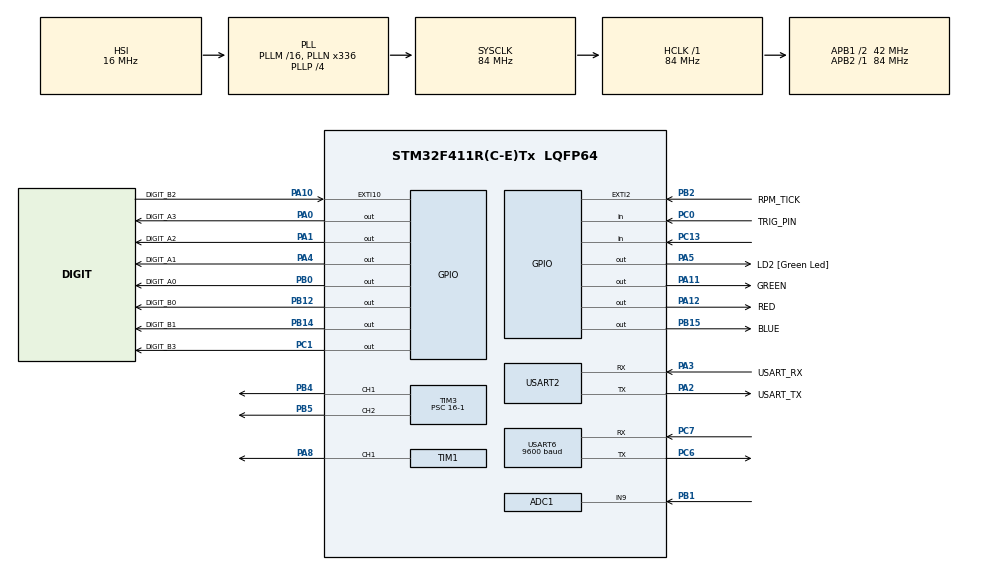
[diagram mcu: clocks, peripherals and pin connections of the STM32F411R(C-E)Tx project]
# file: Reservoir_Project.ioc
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ADC1.Channel-0\#ChannelRegularConversion=ADC_CHANNEL_9
ADC1.NbrOfConversionFlag=1
ADC1.Rank-0\#ChannelRegularConversion=1
ADC1.Resolution=ADC_RESOLUTION_8B
ADC1.SamplingTime-0\#ChannelRegularConversion=ADC_SAMPLETIME_3CYCLES
ADC1.ScanConvMode=ENABLE
ADC1.master=1
Mcu.Family=STM32F4
Mcu.Name=STM32F411R(C-E)Tx
Mcu.Package=LQFP64
NVIC.EXTI2_IRQn=true\:0\:0\:false\:false\:true\:true\:true\:true
NVIC.PriorityGroup=NVIC_PRIORITYGROUP_0
NVIC.USART6_IRQn=true\:0\:0\:false\:false\:true\:true\:true\:true
PA0-WKUP.GPIO_Label=DIGIT_A3
PA0-WKUP.Signal=GPIO_Output
PA1.GPIO_Label=DIGIT_A2
PA1.Signal=GPIO_Output
PA10.GPIO_Label=DIGIT_B2
PA10.Signal=GPXTI10
PA11.GPIO_Label=GREEN
PA11.Signal=GPIO_Output
PA12.GPIO_Label=RED
PA12.Signal=GPIO_Output
PA13.GPIO_Label=TMS
PA13.Mode=Serial_Wire
PA13.Signal=SYS_JTMS-SWDIO
PA14.GPIO_Label=TCK
PA14.Mode=Serial_Wire
PA14.Signal=SYS_JTCK-SWCLK
PA2.GPIO_Label=USART_TX
PA2.Mode=Asynchronous
PA2.Signal=USART2_TX
PA3.GPIO_Label=USART_RX
PA3.Mode=Asynchronous
PA3.Signal=USART2_RX
PA4.GPIO_Label=DIGIT_A1
PA4.Signal=GPIO_Output
PA5.GPIO_Label=LD2 [Green Led]
PA5.Signal=GPIO_Output
PA8.Signal=S_TIM1_CH1
PB0.GPIO_Label=DIGIT_A0
PB0.Signal=GPIO_Output
PB1.Signal=ADCx_IN9
PB12.GPIO_Label=DIGIT_B0
PB12.Signal=GPIO_Output
PB14.GPIO_Label=DIGIT_B1
PB14.Signal=GPIO_Output
PB15.GPIO_Label=BLUE
PB15.Signal=GPIO_Output
PB2.GPIO_Label=RPM_TICK
PB2.Signal=GPXTI2
PB3.GPIO_Label=SWO
PB3.Signal=SYS_JTDO-SWO
PB4.Signal=S_TIM3_CH1
PB5.Signal=S_TIM3_CH2
PC0.GPIO_Label=TRIG_PIN
PC0.Signal=GPIO_Input
PC1.GPIO_Label=DIGIT_B3
PC1.Signal=GPIO_Output
PC13-ANTI_TAMP.Signal=GPIO_Input
PC14-OSC32_IN.Mode=LSE-External-Oscillator
PC14-OSC32_IN.Signal=RCC_OSC32_IN
PC15-OSC32_OUT.Mode=LSE-External-Oscillator
PC15-OSC32_OUT.Signal=RCC_OSC32_OUT
PC6.Mode=Asynchronous
PC6.Signal=USART6_TX
PC7.Mode=Asynchronous
PC7.Signal=USART6_RX
PH0\ -\ OSC_IN.Mode=HSE-External-Clock-Source
PH0\ -\ OSC_IN.Signal=RCC_OSC_IN
PH1\ -\ OSC_OUT.Mode=HSE-External-Clock-Source
PH1\ -\ OSC_OUT.Signal=RCC_OSC_OUT
ProjectManager.HeapSize=0x200
ProjectManager.StackSize=0x400
ProjectManager.TargetToolchain=STM32CubeIDE
RCC.48MHZClocksFreq_Value=84000000
RCC.AHBFreq_Value=84000000
RCC.APB1CLKDivider=RCC_HCLK_DIV2
RCC.APB1Freq_Value=42000000
RCC.APB1TimFreq_Value=84000000
RCC.APB2Freq_Value=84000000
RCC.APB2TimFreq_Value=84000000
RCC.CortexFreq_Value=84000000
RCC.FLatency-AdvancedSettings=FLASH_LATENCY_2
RCC.HCLKFreq_Value=84000000
RCC.HSE_VALUE=8000000
RCC.HSI_VALUE=16000000
RCC.PLLN=336
RCC.PLLP=RCC_PLLP_DIV4
RCC.SYSCLKFreq_VALUE=84000000
RCC.SYSCLKSource=RCC_SYSCLKSOURCE_PLLCLK
RCC.VCOOutputFreq_Value=336000000
SH.ADCx_IN9.0=ADC1_IN9,IN9
SH.S_TIM1_CH1.0=TIM1_CH1,PWM Generation1 CH1
SH.S_TIM3_CH1.0=TIM3_CH1,PWM Generation1 CH1
SH.S_TIM3_CH2.0=TIM3_CH2,PWM Generation2 CH2
TIM1.AutoReloadPreload=TIM_AUTORELOAD_PRELOAD_ENABLE
TIM1.Channel-PWM\ Generation1\ CH1=TIM_CHANNEL_1
TIM1.Period=20000-1
TIM1.Prescaler=16-1
TIM1.Pulse-PWM\ Generation1\ CH1=500-1
TIM3.AutoReloadPreload=TIM_AUTORELOAD_PRELOAD_ENABLE
TIM3.Channel-PWM\ Generation1\ CH1=TIM_CHANNEL_1
TIM3.Channel-PWM\ Generation2\ CH2=TIM_CHANNEL_2
TIM3.Period=2000-1
TIM3.Prescaler=16-1
TIM3.Pulse-PWM\ Generation1\ CH1=1200-1
USART2.VirtualMode=VM_ASYNC
USART6.BaudRate=9600
USART6.VirtualMode=VM_ASYNC
VP_TIM1_VS_ClockSourceINT.Mode=Internal
VP_TIM3_VS_ClockSourceINT.Mode=Internal
board=NUCLEO-F411RE

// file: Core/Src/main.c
/* USER CODE BEGIN Header */
/**
  ******************************************************************************
  * @file           : main.c
  * @brief          : Main program body
  ******************************************************************************
  * @attention
  *
  * Copyright (c) 2024 STMicroelectronics.
  * All rights reserved.
  *
  * This software is licensed under terms that can be found in the LICENSE file
  * in the root directory of this software component.
  * If no LICENSE file comes with this software, it is provided AS-IS.
  *
  ******************************************************************************
  */
/* USER CODE END Header */
#include "main.h"
#include <string.h>
#include <stdio.h>
uint8_t txd_message_buffer[64] = {0};
uint8_t rpm_tick_count = 0;

ADC_HandleTypeDef hadc1;

TIM_HandleTypeDef htim1;
TIM_HandleTypeDef htim3;

UART_HandleTypeDef huart2;
UART_HandleTypeDef huart6;

/* USER CODE BEGIN PV */
uint8_t wall_clock_hr_update_flag = 0;
volatile uint8_t clock_hours = 0;
volatile uint8_t clock_mins = 0;
volatile uint8_t clock_secs = 0;
volatile uint8_t distance = 0;
/* USER CODE END PV */

void SystemClock_Config(void);
static void MX_GPIO_Init(void);
static void MX_USART2_UART_Init(void);
static void MX_ADC1_Init(void);
static void MX_TIM1_Init(void);
static void MX_TIM3_Init(void);
static void MX_USART6_UART_Init(void);

/* USER CODE BEGIN 0 */
volatile uint8_t hcsr04_Rx_flag = 0;
volatile uint32_t first_edge = 0;
volatile uint32_t time_edge1 = 0;
volatile uint32_t time_edge2 = 0;
volatile uint32_t time_diff = 0;

void ADC_Select_CH(int CH)
{
ADC_ChannelConfTypeDef sConfig = {0};
switch(CH)
{
case 0:
sConfig.Channel = ADC_CHANNEL_0;
sConfig.Rank = 1;
if (HAL_ADC_ConfigChannel(&hadc1, &sConfig) != HAL_OK)
{
Error_Handler();
}
break;
case 1:
sConfig.Channel = ADC_CHANNEL_1;
sConfig.Rank = 1;
if (HAL_ADC_ConfigChannel(&hadc1, &sConfig) != HAL_OK)
{
Error_Handler();
}
break;
case 2:
sConfig.Channel = ADC_CHANNEL_2;
sConfig.Rank = 1;
if (HAL_ADC_ConfigChannel(&hadc1, &sConfig) != HAL_OK)
{
Error_Handler();
}
break;
case 3:
sConfig.Channel = ADC_CHANNEL_3;
sConfig.Rank = 1;
if (HAL_ADC_ConfigChannel(&hadc1, &sConfig) != HAL_OK)
{
Error_Handler();
}
break;
case 4:
sConfig.Channel = ADC_CHANNEL_4;
sConfig.Rank = 1;
if (HAL_ADC_ConfigChannel(&hadc1, &sConfig) != HAL_OK)
{
Error_Handler();
}
break;
case 5:
sConfig.Channel = ADC_CHANNEL_5;
sConfig.Rank = 1;
if (HAL_ADC_ConfigChannel(&hadc1, &sConfig) != HAL_OK)
{
Error_Handler();
}
break;
case 6:
sConfig.Channel = ADC_CHANNEL_6;
sConfig.Rank = 1;
if (HAL_ADC_ConfigChannel(&hadc1, &sConfig) != HAL_OK)
{
Error_Handler();
}
break;
case 7:
sConfig.Channel = ADC_CHANNEL_7;
sConfig.Rank = 1;
if (HAL_ADC_ConfigChannel(&hadc1, &sConfig) != HAL_OK)
{
Error_Handler();
}
break;
case 8:
sConfig.Channel = ADC_CHANNEL_8;
sConfig.Rank = 1;
if (HAL_ADC_ConfigChannel(&hadc1, &sConfig) != HAL_OK)
{
Error_Handler();
}
break;
case 9:
sConfig.Channel = ADC_CHANNEL_9;
sConfig.Rank = 1;
if (HAL_ADC_ConfigChannel(&hadc1, &sConfig) != HAL_OK)
{
Error_Handler();
}
break;
case 10:
sConfig.Channel = ADC_CHANNEL_10;
sConfig.Rank = 1;
if (HAL_ADC_ConfigChannel(&hadc1, &sConfig) != HAL_OK)
{
Error_Handler();
}
break;
case 11:
sConfig.Channel = ADC_CHANNEL_11;
sConfig.Rank = 1;
if (HAL_ADC_ConfigChannel(&hadc1, &sConfig) != HAL_OK)
{
Error_Handler();
}
break;
case 12:
sConfig.Channel = ADC_CHANNEL_12;
sConfig.Rank = 1;
if (HAL_ADC_ConfigChannel(&hadc1, &sConfig) != HAL_OK)
{
Error_Handler();
}
break;
case 13:
sConfig.Channel = ADC_CHANNEL_13;
sConfig.Rank = 1;
if (HAL_ADC_ConfigChannel(&hadc1, &sConfig) != HAL_OK)
{
Error_Handler();
}
break;
case 14:
sConfig.Channel = ADC_CHANNEL_14;
sConfig.Rank = 1;
if (HAL_ADC_ConfigChannel(&hadc1, &sConfig) != HAL_OK)
{
Error_Handler();
}
break;
case 15:
sConfig.Channel = ADC_CHANNEL_15;
sConfig.Rank = 1;
if (HAL_ADC_ConfigChannel(&hadc1, &sConfig) != HAL_OK)
{
Error_Handler();
}
break;
}
}
/* USER CODE END 0 */

int main(void)
{

  /* USER CODE BEGIN 1 */

	//distance sensor pulse sending
	void HCSR04_TRIG_PULSE(void){
		HAL_GPIO_WritePin(GPIOC, TRIG_PIN_Pin, GPIO_PIN_SET);
		for(int j=0; j!=48; j= j+1){};
		HAL_GPIO_WritePin(GPIOC, TRIG_PIN_Pin, GPIO_PIN_RESET);
		HAL_Delay(30);
	}

	// printing digits A and B
	void DIGITS_Display(uint8_t DIGIT_A, uint8_t DIGIT_B)
		{
			 uint8_t DIGITA_VAL = 0x0F & DIGIT_A; //mask off higher4 bits
			 int Abit0 = (DIGITA_VAL ) & 1;  	// extract Abit0 of the 4-bit value
			 int Abit1 = (DIGITA_VAL >> 1) & 1;  // extract Abit1 of the 4-bit value
			 int Abit2 = (DIGITA_VAL >> 2) & 1;  // extract Abit2 of the 4-bit value
			 int Abit3 = (DIGITA_VAL >> 3) & 1;  // extract Abit3 of the 4-bit value

			 uint8_t DIGITB_VAL = 0x0F & DIGIT_B; //mask off higher4 bits
			 int Bbit0 = (DIGITB_VAL ) & 1;  	// extract Bbit0 of the 4-bit value
			 int Bbit1 = (DIGITB_VAL >> 1) & 1;  // extract Bbit1 of the 4-bit value
			 int Bbit2 = (DIGITB_VAL >> 2) & 1;  // extract Bbit2 of the 4-bit value
			 int Bbit3 = (DIGITB_VAL >> 3) & 1;  // extract Bbit3 of the 4-bit value

			 if (Abit0 == (0))
			 {
				 HAL_GPIO_WritePin(GPIOB, DIGIT_A0_Pin, GPIO_PIN_RESET);
			 }
			 else
			 {
				 HAL_GPIO_WritePin(GPIOB, DIGIT_A0_Pin, GPIO_PIN_SET);
			 }
			 if (Abit1 == (0))
			 {
				 HAL_GPIO_WritePin(GPIOA, DIGIT_A1_Pin, GPIO_PIN_RESET);
			 }
			 else
			 {
				 HAL_GPIO_WritePin(GPIOA, DIGIT_A1_Pin, GPIO_PIN_SET);
			 }
			 if (Abit2 == (0))
			 {
				 HAL_GPIO_WritePin(GPIOA, DIGIT_A2_Pin, GPIO_PIN_RESET);
			 }
			 else
			 {
				 HAL_GPIO_WritePin(GPIOA, DIGIT_A2_Pin, GPIO_PIN_SET);
			 }
			 if (Abit3 == (0))
			 {
				 HAL_GPIO_WritePin(GPIOA, DIGIT_A3_Pin, GPIO_PIN_RESET);
			 }
			 else
			 {
				 HAL_GPIO_WritePin(GPIOA, DIGIT_A3_Pin, GPIO_PIN_SET);
			 }
			 if (Bbit0 == (0))
			 {
				 HAL_GPIO_WritePin(GPIOB, DIGIT_B0_Pin, GPIO_PIN_RESET);
			 }
			 else
			 {
				 HAL_GPIO_WritePin(GPIOB, DIGIT_B0_Pin, GPIO_PIN_SET);
			 }
			 if (Bbit1 == (0))
			 {
				 HAL_GPIO_WritePin(GPIOB, DIGIT_B1_Pin, GPIO_PIN_RESET);
			 }
			 else
			 {
				 HAL_GPIO_WritePin(GPIOB, DIGIT_B1_Pin, GPIO_PIN_SET);

			 }
			 if (Bbit2 == (0))
			 {
				 HAL_GPIO_WritePin(GPIOC, DIGIT_B2_Pin, GPIO_PIN_RESET);
			 }
			 else
			 {
				 HAL_GPIO_WritePin(GPIOC, DIGIT_B2_Pin, GPIO_PIN_SET);
			 }
			 if (Bbit3 == (0))
			 {
				 HAL_GPIO_WritePin(GPIOC, DIGIT_B3_Pin, GPIO_PIN_RESET);
			 }
			 else
			 {
				 HAL_GPIO_WritePin(GPIOC, DIGIT_B3_Pin, GPIO_PIN_SET);
			 }
		}

  /* USER CODE END 1 */

  /* MCU Configuration--------------------------------------------------------*/

  /* Reset of all peripherals, Initializes the Flash interface and the Systick. */
  HAL_Init();

  /* Configure the system clock */
  SystemClock_Config();

  /* USER CODE BEGIN SysInit */
  int TIM1_Ch1_DCVAL = 500;
  int TIM1_CH1_STEP = 20;
  /* USER CODE END SysInit */

  /* Initialize all configured peripherals */
  MX_GPIO_Init();
  MX_USART2_UART_Init();
  MX_ADC1_Init();
  MX_TIM1_Init();
  MX_TIM3_Init();
  MX_USART6_UART_Init();
  /* USER CODE BEGIN 2 */
  HAL_TIM_Base_Start(&htim1);
  HAL_TIM_PWM_Start(&htim1,TIM_CHANNEL_1);

  TIM1->PSC = 16-1;
  TIM1->ARR = 20000-1;
  TIM1->CCR1 = 00;

  clock_hours = 0;

//  uint8_t timer_ones = timer % 10;
//  uint8_t timer_tens = (timer - timer_ones) / 10;  // separate out digits A and B

  /* USER CODE END 2 */

  /* Infinite loop */
  /* USER CODE BEGIN WHILE */
//  HCSR04_TRIG_PULSE();
  TIM1->CCR1 = 2500;
  HAL_GPIO_WritePin(GPIOA, LD2_Pin, GPIO_PIN_RESET);

 // * SETUP CODE
  // Array to store inputs
    uint8_t setupInputs[17];
    char buffer[2] = {0};

    // Prompt and collect inputs
    sprintf((char*)txd_message_buffer, "\r SETUP MODE \n\n");
    HAL_UART_Transmit(&huart6, txd_message_buffer, strlen((char*)txd_message_buffer), HAL_MAX_DELAY);
    HAL_Delay(500);

    sprintf((char*)txd_message_buffer, "\r Enter SETUP Params \n\n");
    HAL_UART_Transmit(&huart6, txd_message_buffer, strlen((char*)txd_message_buffer), HAL_MAX_DELAY);

    sprintf((char*)txd_message_buffer, "\r\n Enter FIRST PIPELINE CHOICE FOR CONNECTION (0 for DEMO): ");
    HAL_UART_Transmit(&huart6, txd_message_buffer, strlen((char*)txd_message_buffer), HAL_MAX_DELAY);
    HAL_UART_Receive(&huart6, (uint8_t *)buffer, 1, HAL_MAX_DELAY);
    HAL_UART_Transmit(&huart6, (uint8_t *)buffer, 1, HAL_MAX_DELAY);
    setupInputs[0] = atoi(buffer);

    sprintf((char*)txd_message_buffer, "\r\n Enter FIRST PIPELINE CHOICE FOR MOTOR PWM (0 for DEMO): ");
    HAL_UART_Transmit(&huart6, txd_message_buffer, strlen((char*)txd_message_buffer), HAL_MAX_DELAY);
    HAL_UART_Receive(&huart6, (uint8_t *)buffer, 1, HAL_MAX_DELAY);
    HAL_UART_Transmit(&huart6, (uint8_t *)buffer, 1, HAL_MAX_DELAY);
    setupInputs[1] = atoi(buffer);

    sprintf((char*)txd_message_buffer, "\r\n Enter SECOND ZONE CHOICE FOR CONNECTION (1-3): ");
    HAL_UART_Transmit(&huart6, txd_message_buffer, strlen((char*)txd_message_buffer), HAL_MAX_DELAY);
    HAL_UART_Receive(&huart6, (uint8_t *)buffer, 1, HAL_MAX_DELAY);
    HAL_UART_Transmit(&huart6, (uint8_t *)buffer, 1, HAL_MAX_DELAY);
    setupInputs[2] = atoi(buffer);

    sprintf((char*)txd_message_buffer, "\r\n Enter SECOND ZONE CHOICE FOR MOTOR PWM (1-3): ");
    HAL_UART_Transmit(&huart6, txd_message_buffer, strlen((char*)txd_message_buffer), HAL_MAX_DELAY);
    HAL_UART_Receive(&huart6, (uint8_t *)buffer, 1, HAL_MAX_DELAY);
    HAL_UART_Transmit(&huart6, (uint8_t *)buffer, 1, HAL_MAX_DELAY);
    setupInputs[3] = atoi(buffer);

    sprintf((char*)txd_message_buffer, "\r\n Enter THIRD ZONE CHOICE FOR CONNECTION (1-3): ");
    HAL_UART_Transmit(&huart6, txd_message_buffer, strlen((char*)txd_message_buffer), HAL_MAX_DELAY);
    HAL_UART_Receive(&huart6, (uint8_t *)buffer, 1, HAL_MAX_DELAY);
    HAL_UART_Transmit(&huart6, (uint8_t *)buffer, 1, HAL_MAX_DELAY);
    setupInputs[4] = atoi(buffer);

    sprintf((char*)txd_message_buffer, "\r\n Enter THIRD ZONE CHOICE FOR MOTOR PWM (1-3): ");
    HAL_UART_Transmit(&huart6, txd_message_buffer, strlen((char*)txd_message_buffer), HAL_MAX_DELAY);
    HAL_UART_Receive(&huart6, (uint8_t *)buffer, 1, HAL_MAX_DELAY);
    HAL_UART_Transmit(&huart6, (uint8_t *)buffer, 1, HAL_MAX_DELAY);
    setupInputs[5] = atoi(buffer);

    sprintf((char*)txd_message_buffer, "\r\n Enter FORTH ZONE CHOICE FOR CONNECTION (1-3): ");
    HAL_UART_Transmit(&huart6, txd_message_buffer, strlen((char*)txd_message_buffer), HAL_MAX_DELAY);
    HAL_UART_Receive(&huart6, (uint8_t *)buffer, 1, HAL_MAX_DELAY);
    HAL_UART_Transmit(&huart6, (uint8_t *)buffer, 1, HAL_MAX_DELAY);
    setupInputs[6] = atoi(buffer);

    sprintf((char*)txd_message_buffer, "\r\n Enter FORTH ZONE CHOICE FOR MOTOR PWM (1-3): ");
    HAL_UART_Transmit(&huart6, txd_message_buffer, strlen((char*)txd_message_buffer), HAL_MAX_DELAY);
    HAL_UART_Receive(&huart6, (uint8_t *)buffer, 1, HAL_MAX_DELAY);
    HAL_UART_Transmit(&huart6, (uint8_t *)buffer, 1, HAL_MAX_DELAY);
    setupInputs[7] = atoi(buffer);

    sprintf((char*)txd_message_buffer, "\r\n Enter CURRENT WALL CLOCK TIME (00 for DEMO): ");
    HAL_UART_Transmit(&huart6, txd_message_buffer, strlen((char*)txd_message_buffer), HAL_MAX_DELAY);
    HAL_UART_Receive(&huart6, (uint8_t *)buffer, 2, HAL_MAX_DELAY);
    HAL_UART_Transmit(&huart6, (uint8_t *)buffer, 2, HAL_MAX_DELAY);
    setupInputs[8] = atoi(buffer);

    sprintf((char*)txd_message_buffer, "\r\n Enter INLET WALL CLOCK START TIME (00 for DEMO): ");
    HAL_UART_Transmit(&huart6, txd_message_buffer, strlen((char*)txd_message_buffer), HAL_MAX_DELAY);
    HAL_UART_Receive(&huart6, (uint8_t *)buffer, 2, HAL_MAX_DELAY);
    HAL_UART_Transmit(&huart6, (uint8_t *)buffer, 2, HAL_MAX_DELAY);
    setupInputs[9] = atoi(buffer);

    sprintf((char*)txd_message_buffer, "\r\n Enter INLET WALL CLOCK STOP TIME (07 for DEMO): ");
    HAL_UART_Transmit(&huart6, txd_message_buffer, strlen((char*)txd_message_buffer), HAL_MAX_DELAY);
    HAL_UART_Receive(&huart6, (uint8_t *)buffer, 2, HAL_MAX_DELAY);
    HAL_UART_Transmit(&huart6, (uint8_t *)buffer, 2, HAL_MAX_DELAY);
    setupInputs[10] = atoi(buffer);

    sprintf((char*)txd_message_buffer, "\r\n Enter FIRST ZONE CHOICE WALL CLOCK START TIME (08-23): ");
    HAL_UART_Transmit(&huart6, txd_message_buffer, strlen((char*)txd_message_buffer), HAL_MAX_DELAY);
    HAL_UART_Receive(&huart6, (uint8_t *)buffer, 2, HAL_MAX_DELAY);
    HAL_UART_Transmit(&huart6, (uint8_t *)buffer, 2, HAL_MAX_DELAY);
    setupInputs[11] = atoi(buffer);

    sprintf((char*)txd_message_buffer, "\r\n Enter FIRST ZONE CHOICE WALL CLOCK STOP TIME (09-23): ");
    HAL_UART_Transmit(&huart6, txd_message_buffer, strlen((char*)txd_message_buffer), HAL_MAX_DELAY);
    HAL_UART_Receive(&huart6, (uint8_t *)buffer, 2, HAL_MAX_DELAY);
    HAL_UART_Transmit(&huart6, (uint8_t *)buffer, 2, HAL_MAX_DELAY);
    setupInputs[12] = atoi(buffer);

    sprintf((char*)txd_message_buffer, "\r\n Enter SECOND ZONE CHOICE WALL CLOCK START TIME (08-23): ");
    HAL_UART_Transmit(&huart6, txd_message_buffer, strlen((char*)txd_message_buffer), HAL_MAX_DELAY);
    HAL_UART_Receive(&huart6, (uint8_t *)buffer, 2, HAL_MAX_DELAY);
    HAL_UART_Transmit(&huart6, (uint8_t *)buffer, 2, HAL_MAX_DELAY);
    setupInputs[13] = atoi(buffer);

    sprintf((char*)txd_message_buffer, "\r\n Enter SECOND ZONE CHOICE WALL CLOCK STOP TIME (09-23): ");
    HAL_UART_Transmit(&huart6, txd_message_buffer, strlen((char*)txd_message_buffer), HAL_MAX_DELAY);
    HAL_UART_Receive(&huart6, (uint8_t *)buffer, 2, HAL_MAX_DELAY);
    HAL_UART_Transmit(&huart6, (uint8_t *)buffer, 2, HAL_MAX_DELAY);
    setupInputs[14] = atoi(buffer);

    sprintf((char*)txd_message_buffer, "\r\n Enter THIRD ZONE CHOICE WALL CLOCK START TIME (08-23): ");
    HAL_UART_Transmit(&huart6, txd_message_buffer, strlen((char*)txd_message_buffer), HAL_MAX_DELAY);
    HAL_UART_Receive(&huart6, (uint8_t *)buffer, 2, HAL_MAX_DELAY);
    HAL_UART_Transmit(&huart6, (uint8_t *)buffer, 2, HAL_MAX_DELAY);
    setupInputs[15] = atoi(buffer);

    sprintf((char*)txd_message_buffer, "\r\n Enter THIRD ZONE CHOICE WALL CLOCK STOP TIME (09-23): ");
    HAL_UART_Transmit(&huart6, txd_message_buffer, strlen((char*)txd_message_buffer), HAL_MAX_DELAY);
    HAL_UART_Receive(&huart6, (uint8_t *)buffer, 2, HAL_MAX_DELAY);
    HAL_UART_Transmit(&huart6, (uint8_t *)buffer, 2, HAL_MAX_DELAY);
    setupInputs[16] = atoi(buffer);

    sprintf((char*)txd_message_buffer, "\r\n\n Printing Set Up Parameters \n");
    HAL_UART_Transmit(&huart6, txd_message_buffer, strlen((char*)txd_message_buffer), HAL_MAX_DELAY);

    sprintf((char*)txd_message_buffer, "\r\n FIRST PIPELINE CHOICE: 0 \t");
    HAL_UART_Transmit(&huart6, txd_message_buffer, strlen((char*)txd_message_buffer), HAL_MAX_DELAY);
    sprintf((char*)txd_message_buffer, "Pump PWR: %d\t", setupInputs[1]);
    HAL_UART_Transmit(&huart6, txd_message_buffer, strlen((char*)txd_message_buffer), HAL_MAX_DELAY);
    sprintf((char*)txd_message_buffer, "FIRST ZONE CHOICE WALL CLOCK START TIME: %d\t", setupInputs[11]);
    HAL_UART_Transmit(&huart6, txd_message_buffer, strlen((char*)txd_message_buffer), HAL_MAX_DELAY);
    sprintf((char*)txd_message_buffer, "FIRST ZONE CHOICE WALL CLOCK STOP TIME: %d\t", setupInputs[12]);
    HAL_UART_Transmit(&huart6, txd_message_buffer, strlen((char*)txd_message_buffer), HAL_MAX_DELAY);

    sprintf((char*)txd_message_buffer, "\r\n SECOND ZONE CHOICE: %d \t", setupInputs[2]);
    HAL_UART_Transmit(&huart6, txd_message_buffer, strlen((char*)txd_message_buffer), HAL_MAX_DELAY);
    sprintf((char*)txd_message_buffer, "Pump PWR: %d\t", setupInputs[3]);
    HAL_UART_Transmit(&huart6, txd_message_buffer, strlen((char*)txd_message_buffer), HAL_MAX_DELAY);
    sprintf((char*)txd_message_buffer, "SECOND ZONE CHOICE WALL CLOCK START TIME: %d\t", setupInputs[13]);
    HAL_UART_Transmit(&huart6, txd_message_buffer, strlen((char*)txd_message_buffer), HAL_MAX_DELAY);
    sprintf((char*)txd_message_buffer, "SECOND ZONE CHOICE WALL CLOCK STOP TIME: %d\t", setupInputs[14]);
    HAL_UART_Transmit(&huart6, txd_message_buffer, strlen((char*)txd_message_buffer), HAL_MAX_DELAY);

    sprintf((char*)txd_message_buffer, "\r\n THIRD ZONE CHOICE: %d \t", setupInputs[4]);
    HAL_UART_Transmit(&huart6, txd_message_buffer, strlen((char*)txd_message_buffer), HAL_MAX_DELAY);
    sprintf((char*)txd_message_buffer, "Pump PWR: %d\t", setupInputs[5]);
    HAL_UART_Transmit(&huart6, txd_message_buffer, strlen((char*)txd_message_buffer), HAL_MAX_DELAY);
    sprintf((char*)txd_message_buffer, "THIRD ZONE CHOICE WALL CLOCK START TIME: %d\t", setupInputs[15]);
    HAL_UART_Transmit(&huart6, txd_message_buffer, strlen((char*)txd_message_buffer), HAL_MAX_DELAY);
    sprintf((char*)txd_message_buffer, "THIRD ZONE CHOICE WALL CLOCK STOP TIME: %d\t", setupInputs[16]);
    HAL_UART_Transmit(&huart6, txd_message_buffer, strlen((char*)txd_message_buffer), HAL_MAX_DELAY);

    uint8_t percent_full = 0;

	  sprintf((char*)txd_message_buffer, "\r\n\n SETUP is done. Press BLUE BUTTON for RUN MODE. ");
	  HAL_UART_Transmit(&huart6, txd_message_buffer, strlen((char*)txd_message_buffer), HAL_MAX_DELAY);
	  while(HAL_GPIO_ReadPin(GPIOC, GPIO_PIN_13) == 1){
		  HAL_GPIO_WritePin(GPIOA, LD2_Pin, GPIO_PIN_SET);
		  HAL_Delay(50);
		  HAL_GPIO_WritePin(GPIOA, LD2_Pin, GPIO_PIN_RESET);
		  HAL_Delay(50);
		  if (HAL_GPIO_ReadPin(GPIOC, GPIO_PIN_13) == 0){
			  break;
		  }
	  }

	  HAL_GPIO_WritePin(GPIOA, LD2_Pin, GPIO_PIN_SET);
	  sprintf((char*)txd_message_buffer, "\r\n\n RUN MODE \n\n");
	  HAL_UART_Transmit(&huart6, txd_message_buffer, strlen((char*)txd_message_buffer), HAL_MAX_DELAY);

  // RUN MODE CODE WITH TITLES

	  sprintf((char*)txd_message_buffer, "\r WALL CLOCK (hr): | ZONE/INLET: | MOTOR %%PWM: | RPM: | WATER DEPTH (%%): \n");
	  HAL_UART_Transmit(&huart6, txd_message_buffer, strlen((char*)txd_message_buffer), HAL_MAX_DELAY);

	  HAL_TIM_Base_Init(&htim3);
	  HAL_TIM_PWM_Start(&htim3, TIM_CHANNEL_1);
	  HAL_TIM_PWM_Start(&htim3, TIM_CHANNEL_2);

	  uint8_t PWM_Percent = 0;

	  for (int i = 0; i <= 24; i++){
		  uint8_t zone_number = 100;
		  if (i >= 0 && i < 7){
			  zone_number = 0;
			  HAL_GPIO_WritePin(GPIOB, BLUE_Pin, 0);
			  HAL_GPIO_WritePin(GPIOB, RED_Pin, 0);
			  HAL_GPIO_WritePin(GPIOA, GREEN_Pin, 0);

			  HAL_GPIO_WritePin(GPIOB, BLUE_Pin, 1);
			  HAL_GPIO_WritePin(GPIOA, RED_Pin, 1);

			  HAL_TIM_Base_Start(&htim1);
			  HAL_TIM_PWM_Start(&htim1,TIM_CHANNEL_1);
			  TIM1->PSC = 16-1;
			  TIM1->ARR = 20000-1;
			  TIM1->CCR1 = 2500;

			  /*
			   * NOTE: since we set the PWM to be 0 in this case, we should be able to adjust the value of the Motor Speed using the potentiometer
			   */

		  } else if (i >= 7 && i < setupInputs[12]){
			  zone_number = 1;
			  HAL_GPIO_WritePin(GPIOB, BLUE_Pin, 0);
			  HAL_GPIO_WritePin(GPIOB, RED_Pin, 0);
			  HAL_GPIO_WritePin(GPIOA, GREEN_Pin, 0);

			  HAL_GPIO_WritePin(GPIOA, RED_Pin, 1);

			  HAL_TIM_Base_Start(&htim1);
			  HAL_TIM_PWM_Start(&htim1,TIM_CHANNEL_1);
			  TIM1->PSC = 16-1;
			  TIM1->ARR = 20000-1;
			  TIM1->CCR1 = 1834;

			  if (setupInputs[3] == 1){
				  PWM_Percent = 70;
			  } else if (setupInputs[3] == 2){
				  PWM_Percent = 85;
			  } else if (setupInputs[3] == 3){
				  PWM_Percent = 90;
			  }

		  } else if (i >= setupInputs[12] && i < setupInputs[14]){
			  zone_number = 2;
			  HAL_GPIO_WritePin(GPIOB, BLUE_Pin, 0);
			  HAL_GPIO_WritePin(GPIOB, RED_Pin, 0);
			  HAL_GPIO_WritePin(GPIOA, GREEN_Pin, 0);

			  HAL_GPIO_WritePin(GPIOA, GREEN_Pin, 1);

			  HAL_TIM_Base_Start(&htim1);
			  HAL_TIM_PWM_Start(&htim1,TIM_CHANNEL_1);
			  TIM1->PSC = 16-1;
			  TIM1->ARR = 20000-1;
			  TIM1->CCR1 = 1168;

			  if (setupInputs[5] == 1){
				  PWM_Percent = 70;
			  } else if (setupInputs[5] == 2){
				  PWM_Percent = 85;
			  } else if (setupInputs[5] == 3){
				  PWM_Percent = 90;
			  }

		  } else if (i >= setupInputs[14] && i < setupInputs[16]){
			  zone_number = 3;
			  HAL_GPIO_WritePin(GPIOB, BLUE_Pin, 0);
			  HAL_GPIO_WritePin(GPIOB, RED_Pin, 0);
			  HAL_GPIO_WritePin(GPIOA, GREEN_Pin, 0);

			  HAL_GPIO_WritePin(GPIOB, BLUE_Pin, 1);
			  HAL_TIM_Base_Start(&htim1);
			  HAL_TIM_PWM_Start(&htim1,TIM_CHANNEL_1);
			  TIM1->PSC = 16-1;
			  TIM1->ARR = 20000-1;
			  TIM1->CCR1 = 500;

			  if (setupInputs[7] == 1){
				  PWM_Percent = 70;
			  } else if (setupInputs[7] == 2){
				  PWM_Percent = 85;
			  } else if (setupInputs[7] == 3){
				  PWM_Percent = 90;
			  }

		  } else if (i >= setupInputs[16]){
			  sprintf((char*)txd_message_buffer, "\r %d| %s| %d| %d| %d\n", i, " " ,PWM_Percent, rpm_tick_count, percent_full);
			  HAL_UART_Transmit(&huart6, txd_message_buffer, strlen((char*)txd_message_buffer), HAL_MAX_DELAY);
			  PWM_Percent = 0;

			  HAL_GPIO_WritePin(GPIOB, BLUE_Pin, GPIO_PIN_RESET);
			  HAL_GPIO_WritePin(GPIOB, RED_Pin, GPIO_PIN_RESET);
			  HAL_GPIO_WritePin(GPIOA, GREEN_Pin, GPIO_PIN_RESET);

			  if (i == 24){
				  sprintf((char*)txd_message_buffer, "Irrigation Complete\r\n");
				  HAL_UART_Transmit(&huart6, txd_message_buffer, strlen((char*)txd_message_buffer), HAL_MAX_DELAY);
				  break;
			  }
			  HAL_Delay(12000);
		  }

		  // Getting the distance from sensor
//		  hcsr04_Rx_flag = 0;
//		  first_edge = 0;
//		  time_edge1 = 0;
//		  time_edge2 = 0;
//		  time_diff = 0;
//		  distance = 0;
//		  max_depth = 100;
//

//		  HCSR04_TRIG_PULSE();
//		  while(hcsr04_Rx_flag == 0){};
//		  time_diff = time_edge2-time_edge1;
//		  distance = (int)(((float)time_diff)/304);
//		  percent_full = max_depth - distance;

		  // Displaying onto a timer
//		  tens_digit = percent_full % 10;
//		  ones_digit = percent_full - tens_digit * 10;
//		  DIGITS_Display(tens_digit, ones_digit);
//

		  // if the reservoir is empty (below threshold of 20%)
//		  if (percent_full <= 20){
//			  HAL_GPIO_WritePin(GPIOB, BLUE_Pin, 0);
//			  HAL_GPIO_WritePin(GPIOB, RED_Pin, 0);
//			  HAL_GPIO_WritePin(GPIOA, GREEN_Pin, 0);
//
//			  HAL_Delay(500);
//
//			  HAL_GPIO_WritePin(GPIOB, BLUE_Pin, 1);
//			  HAL_GPIO_WritePin(GPIOB, RED_Pin, 1);
//			  HAL_GPIO_WritePin(GPIOA, GREEN_Pin, 1);
//
//			  HAL_Delay(500);
//		  }
		  if(i < setupInputs[16]){
			  sprintf((char*)txd_message_buffer, "\r %d| %d| %d| %d| %d\n", i, zone_number,PWM_Percent, rpm_tick_count, percent_full);
			  HAL_UART_Transmit(&huart6, txd_message_buffer, strlen((char*)txd_message_buffer), HAL_MAX_DELAY);
			  HAL_Delay(12000);
		  }
	  }

	  //servo controlling
	  // TIM1->CCR1 = ____________

	  //get pulse width (time_diff) and distance (distance)

	  HAL_TIM_PWM_Stop(&htim3, TIM_CHANNEL_1);
	  HAL_TIM_PWM_Stop(&htim3, TIM_CHANNEL_2);

	  // getting the adc value from the potentiometer
	  ADC_Select_CH(9);
	  HAL_ADC_Start(&hadc1);
	  HAL_ADC_PollForConversion(&hadc1, 1000);
	  uint8_t ADC_CH9 = HAL_ADC_GetValue(&hadc1);
	  HAL_ADC_Stop(&hadc1);
	  // end of potentiometer code

    /* USER CODE END WHILE */

}

void SystemClock_Config(void)
{
  RCC_OscInitTypeDef RCC_OscInitStruct = {0};
  RCC_ClkInitTypeDef RCC_ClkInitStruct = {0};

  /** Configure the main internal regulator output voltage
  */
  __HAL_RCC_PWR_CLK_ENABLE();
  __HAL_PWR_VOLTAGESCALING_CONFIG(PWR_REGULATOR_VOLTAGE_SCALE1);

  /** Initializes the RCC Oscillators according to the specified parameters
  * in the RCC_OscInitTypeDef structure.
  */
  RCC_OscInitStruct.OscillatorType = RCC_OSCILLATORTYPE_HSI;
  RCC_OscInitStruct.HSIState = RCC_HSI_ON;
  RCC_OscInitStruct.HSICalibrationValue = RCC_HSICALIBRATION_DEFAULT;
  RCC_OscInitStruct.PLL.PLLState = RCC_PLL_ON;
  RCC_OscInitStruct.PLL.PLLSource = RCC_PLLSOURCE_HSI;
  RCC_OscInitStruct.PLL.PLLM = 16;
  RCC_OscInitStruct.PLL.PLLN = 336;
  RCC_OscInitStruct.PLL.PLLP = RCC_PLLP_DIV4;
  RCC_OscInitStruct.PLL.PLLQ = 4;
  if (HAL_RCC_OscConfig(&RCC_OscInitStruct) != HAL_OK)
  {
    Error_Handler();
  }

  /** Initializes the CPU, AHB and APB buses clocks
  */
  RCC_ClkInitStruct.ClockType = RCC_CLOCKTYPE_HCLK|RCC_CLOCKTYPE_SYSCLK
                              |RCC_CLOCKTYPE_PCLK1|RCC_CLOCKTYPE_PCLK2;
  RCC_ClkInitStruct.SYSCLKSource = RCC_SYSCLKSOURCE_PLLCLK;
  RCC_ClkInitStruct.AHBCLKDivider = RCC_SYSCLK_DIV1;
  RCC_ClkInitStruct.APB1CLKDivider = RCC_HCLK_DIV2;
  RCC_ClkInitStruct.APB2CLKDivider = RCC_HCLK_DIV1;

  if (HAL_RCC_ClockConfig(&RCC_ClkInitStruct, FLASH_LATENCY_2) != HAL_OK)
  {
    Error_Handler();
  }
}

static void MX_ADC1_Init(void)
{

  ADC_ChannelConfTypeDef sConfig = {0};

  /** Configure the global features of the ADC (Clock, Resolution, Data Alignment and number of conversion)
  */
  hadc1.Instance = ADC1;
  hadc1.Init.ClockPrescaler = ADC_CLOCK_SYNC_PCLK_DIV4;
  hadc1.Init.Resolution = ADC_RESOLUTION_8B;
  hadc1.Init.ScanConvMode = ENABLE;
  hadc1.Init.ContinuousConvMode = DISABLE;
  hadc1.Init.DiscontinuousConvMode = DISABLE;
  hadc1.Init.ExternalTrigConvEdge = ADC_EXTERNALTRIGCONVEDGE_NONE;
  hadc1.Init.ExternalTrigConv = ADC_SOFTWARE_START;
  hadc1.Init.DataAlign = ADC_DATAALIGN_RIGHT;
  hadc1.Init.NbrOfConversion = 1;
  hadc1.Init.DMAContinuousRequests = DISABLE;
  hadc1.Init.EOCSelection = ADC_EOC_SINGLE_CONV;
  if (HAL_ADC_Init(&hadc1) != HAL_OK)
  {
    Error_Handler();
  }

  /** Configure for the selected ADC regular channel its corresponding rank in the sequencer and its sample time.
  */
  sConfig.Channel = ADC_CHANNEL_9;
  sConfig.Rank = 1;
  sConfig.SamplingTime = ADC_SAMPLETIME_3CYCLES;
  if (HAL_ADC_ConfigChannel(&hadc1, &sConfig) != HAL_OK)
  {
    Error_Handler();
  }

}

static void MX_TIM1_Init(void)
{

  TIM_ClockConfigTypeDef sClockSourceConfig = {0};
  TIM_MasterConfigTypeDef sMasterConfig = {0};
  TIM_OC_InitTypeDef sConfigOC = {0};
  TIM_BreakDeadTimeConfigTypeDef sBreakDeadTimeConfig = {0};

  htim1.Instance = TIM1;
  htim1.Init.Prescaler = 16-1;
  htim1.Init.CounterMode = TIM_COUNTERMODE_UP;
  htim1.Init.Period = 20000-1;
  htim1.Init.ClockDivision = TIM_CLOCKDIVISION_DIV1;
  htim1.Init.RepetitionCounter = 0;
  htim1.Init.AutoReloadPreload = TIM_AUTORELOAD_PRELOAD_ENABLE;
  if (HAL_TIM_Base_Init(&htim1) != HAL_OK)
  {
    Error_Handler();
  }
  sClockSourceConfig.ClockSource = TIM_CLOCKSOURCE_INTERNAL;
  if (HAL_TIM_ConfigClockSource(&htim1, &sClockSourceConfig) != HAL_OK)
  {
    Error_Handler();
  }
  if (HAL_TIM_PWM_Init(&htim1) != HAL_OK)
  {
    Error_Handler();
  }
  sMasterConfig.MasterOutputTrigger = TIM_TRGO_RESET;
  sMasterConfig.MasterSlaveMode = TIM_MASTERSLAVEMODE_DISABLE;
  if (HAL_TIMEx_MasterConfigSynchronization(&htim1, &sMasterConfig) != HAL_OK)
  {
    Error_Handler();
  }
  sConfigOC.OCMode = TIM_OCMODE_PWM1;
  sConfigOC.Pulse = 500-1;
  sConfigOC.OCPolarity = TIM_OCPOLARITY_HIGH;
  sConfigOC.OCNPolarity = TIM_OCNPOLARITY_HIGH;
  sConfigOC.OCFastMode = TIM_OCFAST_DISABLE;
  sConfigOC.OCIdleState = TIM_OCIDLESTATE_RESET;
  sConfigOC.OCNIdleState = TIM_OCNIDLESTATE_RESET;
  if (HAL_TIM_PWM_ConfigChannel(&htim1, &sConfigOC, TIM_CHANNEL_1) != HAL_OK)
  {
    Error_Handler();
  }
  sBreakDeadTimeConfig.OffStateRunMode = TIM_OSSR_DISABLE;
  sBreakDeadTimeConfig.OffStateIDLEMode = TIM_OSSI_DISABLE;
  sBreakDeadTimeConfig.LockLevel = TIM_LOCKLEVEL_OFF;
  sBreakDeadTimeConfig.DeadTime = 0;
  sBreakDeadTimeConfig.BreakState = TIM_BREAK_DISABLE;
  sBreakDeadTimeConfig.BreakPolarity = TIM_BREAKPOLARITY_HIGH;
  sBreakDeadTimeConfig.AutomaticOutput = TIM_AUTOMATICOUTPUT_DISABLE;
  if (HAL_TIMEx_ConfigBreakDeadTime(&htim1, &sBreakDeadTimeConfig) != HAL_OK)
  {
    Error_Handler();
  }
  HAL_TIM_MspPostInit(&htim1);

}

static void MX_TIM3_Init(void)
{

  TIM_ClockConfigTypeDef sClockSourceConfig = {0};
  TIM_MasterConfigTypeDef sMasterConfig = {0};
  TIM_OC_InitTypeDef sConfigOC = {0};

  htim3.Instance = TIM3;
  htim3.Init.Prescaler = 16-1;
  htim3.Init.CounterMode = TIM_COUNTERMODE_UP;
  htim3.Init.Period = 2000-1;
  htim3.Init.ClockDivision = TIM_CLOCKDIVISION_DIV1;
  htim3.Init.AutoReloadPreload = TIM_AUTORELOAD_PRELOAD_ENABLE;
  if (HAL_TIM_Base_Init(&htim3) != HAL_OK)
  {
    Error_Handler();
  }
  sClockSourceConfig.ClockSource = TIM_CLOCKSOURCE_INTERNAL;
  if (HAL_TIM_ConfigClockSource(&htim3, &sClockSourceConfig) != HAL_OK)
  {
    Error_Handler();
  }
  if (HAL_TIM_PWM_Init(&htim3) != HAL_OK)
  {
    Error_Handler();
  }
  sMasterConfig.MasterOutputTrigger = TIM_TRGO_RESET;
  sMasterConfig.MasterSlaveMode = TIM_MASTERSLAVEMODE_DISABLE;
  if (HAL_TIMEx_MasterConfigSynchronization(&htim3, &sMasterConfig) != HAL_OK)
  {
    Error_Handler();
  }
  sConfigOC.OCMode = TIM_OCMODE_PWM1;
  sConfigOC.Pulse = 1200-1;
  sConfigOC.OCPolarity = TIM_OCPOLARITY_HIGH;
  sConfigOC.OCFastMode = TIM_OCFAST_DISABLE;
  if (HAL_TIM_PWM_ConfigChannel(&htim3, &sConfigOC, TIM_CHANNEL_1) != HAL_OK)
  {
    Error_Handler();
  }
  sConfigOC.Pulse = 0;
  if (HAL_TIM_PWM_ConfigChannel(&htim3, &sConfigOC, TIM_CHANNEL_2) != HAL_OK)
  {
    Error_Handler();
  }
  HAL_TIM_MspPostInit(&htim3);

}

static void MX_USART2_UART_Init(void)
{

  huart2.Instance = USART2;
  huart2.Init.BaudRate = 115200;
  huart2.Init.WordLength = UART_WORDLENGTH_8B;
  huart2.Init.StopBits = UART_STOPBITS_1;
  huart2.Init.Parity = UART_PARITY_NONE;
  huart2.Init.Mode = UART_MODE_TX_RX;
  huart2.Init.HwFlowCtl = UART_HWCONTROL_NONE;
  huart2.Init.OverSampling = UART_OVERSAMPLING_16;
  if (HAL_UART_Init(&huart2) != HAL_OK)
  {
    Error_Handler();
  }

}

static void MX_USART6_UART_Init(void)
{

  huart6.Instance = USART6;
  huart6.Init.BaudRate = 9600;
  huart6.Init.WordLength = UART_WORDLENGTH_8B;
  huart6.Init.StopBits = UART_STOPBITS_1;
  huart6.Init.Parity = UART_PARITY_NONE;
  huart6.Init.Mode = UART_MODE_TX_RX;
  huart6.Init.HwFlowCtl = UART_HWCONTROL_NONE;
  huart6.Init.OverSampling = UART_OVERSAMPLING_16;
  if (HAL_UART_Init(&huart6) != HAL_OK)
  {
    Error_Handler();
  }

}

static void MX_GPIO_Init(void)
{
  GPIO_InitTypeDef GPIO_InitStruct = {0};

  /* GPIO Ports Clock Enable */
  __HAL_RCC_GPIOC_CLK_ENABLE();
  __HAL_RCC_GPIOH_CLK_ENABLE();
  __HAL_RCC_GPIOA_CLK_ENABLE();
  __HAL_RCC_GPIOB_CLK_ENABLE();

  /*Configure GPIO pin Output Level */
  HAL_GPIO_WritePin(DIGIT_B3_GPIO_Port, DIGIT_B3_Pin, GPIO_PIN_RESET);

  /*Configure GPIO pin Output Level */
  HAL_GPIO_WritePin(GPIOA, DIGIT_A3_Pin|DIGIT_A2_Pin|DIGIT_A1_Pin|LD2_Pin
                          |GREEN_Pin|RED_Pin, GPIO_PIN_RESET);

  /*Configure GPIO pin Output Level */
  HAL_GPIO_WritePin(GPIOB, DIGIT_A0_Pin|DIGIT_B0_Pin|DIGIT_B1_Pin|BLUE_Pin, GPIO_PIN_RESET);

  /*Configure GPIO pins : PC13 TRIG_PIN_Pin */
  GPIO_InitStruct.Pin = GPIO_PIN_13|TRIG_PIN_Pin;
  GPIO_InitStruct.Mode = GPIO_MODE_INPUT;
  GPIO_InitStruct.Pull = GPIO_NOPULL;
  HAL_GPIO_Init(GPIOC, &GPIO_InitStruct);

  /*Configure GPIO pin : DIGIT_B3_Pin */
  GPIO_InitStruct.Pin = DIGIT_B3_Pin;
  GPIO_InitStruct.Mode = GPIO_MODE_OUTPUT_PP;
  GPIO_InitStruct.Pull = GPIO_NOPULL;
  GPIO_InitStruct.Speed = GPIO_SPEED_FREQ_LOW;
  HAL_GPIO_Init(DIGIT_B3_GPIO_Port, &GPIO_InitStruct);

  /*Configure GPIO pins : DIGIT_A3_Pin DIGIT_A2_Pin DIGIT_A1_Pin LD2_Pin
                           GREEN_Pin RED_Pin */
  GPIO_InitStruct.Pin = DIGIT_A3_Pin|DIGIT_A2_Pin|DIGIT_A1_Pin|LD2_Pin
                          |GREEN_Pin|RED_Pin;
  GPIO_InitStruct.Mode = GPIO_MODE_OUTPUT_PP;
  GPIO_InitStruct.Pull = GPIO_NOPULL;
  GPIO_InitStruct.Speed = GPIO_SPEED_FREQ_LOW;
  HAL_GPIO_Init(GPIOA, &GPIO_InitStruct);

  /*Configure GPIO pins : DIGIT_A0_Pin DIGIT_B0_Pin DIGIT_B1_Pin BLUE_Pin */
  GPIO_InitStruct.Pin = DIGIT_A0_Pin|DIGIT_B0_Pin|DIGIT_B1_Pin|BLUE_Pin;
  GPIO_InitStruct.Mode = GPIO_MODE_OUTPUT_PP;
  GPIO_InitStruct.Pull = GPIO_NOPULL;
  GPIO_InitStruct.Speed = GPIO_SPEED_FREQ_LOW;
  HAL_GPIO_Init(GPIOB, &GPIO_InitStruct);

  /*Configure GPIO pin : RPM_TICK_Pin */
  GPIO_InitStruct.Pin = RPM_TICK_Pin;
  GPIO_InitStruct.Mode = GPIO_MODE_IT_RISING;
  GPIO_InitStruct.Pull = GPIO_NOPULL;
  HAL_GPIO_Init(RPM_TICK_GPIO_Port, &GPIO_InitStruct);

  /*Configure GPIO pin : DIGIT_B2_Pin */
  GPIO_InitStruct.Pin = DIGIT_B2_Pin;
  GPIO_InitStruct.Mode = GPIO_MODE_IT_RISING;
  GPIO_InitStruct.Pull = GPIO_NOPULL;
  HAL_GPIO_Init(DIGIT_B2_GPIO_Port, &GPIO_InitStruct);

  /* EXTI interrupt init*/
  HAL_NVIC_SetPriority(EXTI2_IRQn, 0, 0);
  HAL_NVIC_EnableIRQ(EXTI2_IRQn);

}

/* USER CODE BEGIN 4 */
void HAL_TIM_IC_CaptureCallback(TIM_HandleTypeDef *htim){
	if (htim->Instance == TIM3){
		if (htim->Channel == 1){
			if (first_edge == 0){
				time_edge1 = HAL_TIM_ReadCapturedValue(htim, TIM_CHANNEL_1);
				first_edge = 1;
			} else {
				time_edge2 = HAL_TIM_ReadCapturedValue(htim, TIM_CHANNEL_1);
				__HAL_TIM_SET_COUNTER(htim, 0);
				hcsr04_Rx_flag = 1;
			}
		}
	}
}

void HAL_TIM_PeriodElapsedCallback(TIM_HandleTypeDef *htim){
if((htim->Instance == TIM5))
{
	HAL_UART_Transmit(&huart6, txd_message_buffer, strlen((char*)txd_message_buffer), 1000);
	wall_clock_hr_update_flag = 0; // screen updates occur hourly on the half-hour
	clock_mins += 1;
	if((clock_mins == 60))
	{
		clock_hours += 1;
		clock_mins = 0;
		wall_clock_hr_update_flag = 1; // screen updates occur hourly on the hour
	}
}
}

void HAL_GPIO_EXTI_Callback (uint16_t GPIO_Pin){
	if (GPIO_Pin == RPM_TICK_Pin){				// NOTE THAT RPM CALCULATIONS NEED A CALLBACK
		rpm_tick_count += 1;
	}
}
/* USER CODE END 4 */

void Error_Handler(void)
{
  __disable_irq();
  while (1)
  {
  }
}
